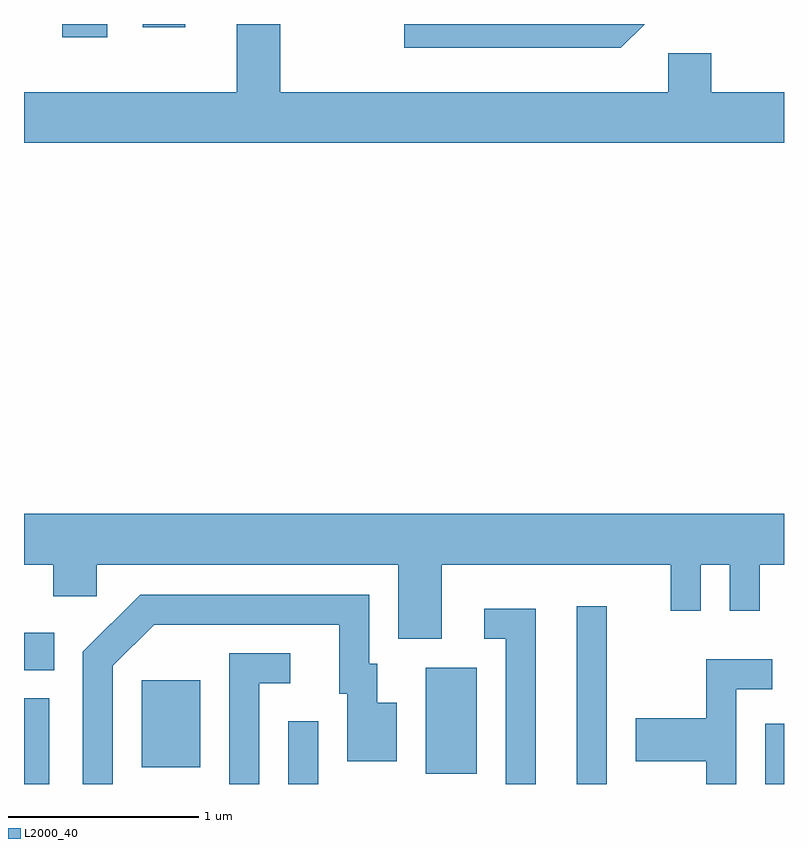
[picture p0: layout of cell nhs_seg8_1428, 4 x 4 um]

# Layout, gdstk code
import gdstk
lib = gdstk.Library(unit=1e-6, precision=1e-09)
def R(c, l, rs):  # rectangles x0, y0, x1, y1
    for r in rs: c.add(gdstk.rectangle(r[:2], r[2:], *l))
def P(c, l, *ps):  # polygons
    for p in ps: c.add(gdstk.Polygon(p, *l))
L2000_40 = (2000, 40)

nhs_seg8_1428 = lib.new_cell('nhs_seg8_1428')
R(nhs_seg8_1428, L2000_40, [(227.611,1866.342,227.744,1866.793), (229.001,1866.342,229.159,1866.673), (230.521,1866.342,230.679,1867.278), (231.511,1866.342,231.611,1866.659), (229.726,1866.396,229.994,1866.954), (228.231,1866.431,228.539,1866.889), (227.611,1866.941,227.769,1867.139), (227.813,1870.271,228.049,1870.342), (228.236,1870.326,228.459,1870.342)])
P(nhs_seg8_1428, L2000_40, [(230.877,1870.342),(229.613,1870.342),(229.613,1870.216),(230.752,1870.216)],
  [(231.611,1869.984),(231.229,1869.984),(231.229,1870.189),(231.001,1870.189),(231.001,1869.984),(228.959,1869.984),(228.959,1870.342),(228.731,1870.342),(228.731,1869.984),(227.611,1869.984),(227.611,1869.716),(231.611,1869.716)],
  [(229.809,1867.496),(231.016,1867.496),(231.016,1867.253),(231.174,1867.253),(231.174,1867.496),(231.326,1867.496),(231.326,1867.253),(231.484,1867.253),(231.484,1867.496),(231.611,1867.496),(231.611,1867.764),(227.611,1867.764),(227.611,1867.496),(227.766,1867.496),(227.766,1867.331),(227.994,1867.331),(227.994,1867.496),(229.581,1867.496),(229.581,1867.106),(229.809,1867.106)],
  [(228.079,1866.964),(228.297,1867.181),(229.271,1867.181),(229.271,1866.816),(229.311,1866.816),(229.311,1866.461),(229.574,1866.461),(229.574,1866.769),(229.469,1866.769),(229.469,1866.974),(229.429,1866.974),(229.429,1867.339),(228.224,1867.339),(227.921,1867.037),(227.921,1866.342),(228.079,1866.342)],
  [(230.304,1867.264),(230.033,1867.264),(230.033,1867.106),(230.146,1867.106),(230.146,1866.342),(230.304,1866.342)],
  [(228.849,1866.871),(229.013,1866.871),(229.013,1867.029),(228.691,1867.029),(228.691,1866.342),(228.849,1866.342)],
  [(231.359,1866.841),(231.548,1866.841),(231.548,1866.999),(231.201,1866.999),(231.201,1866.689),(230.831,1866.689),(230.831,1866.461),(231.201,1866.461),(231.201,1866.342),(231.359,1866.342)])

lib.write_gds('nhs_seg8_1428.gds')
